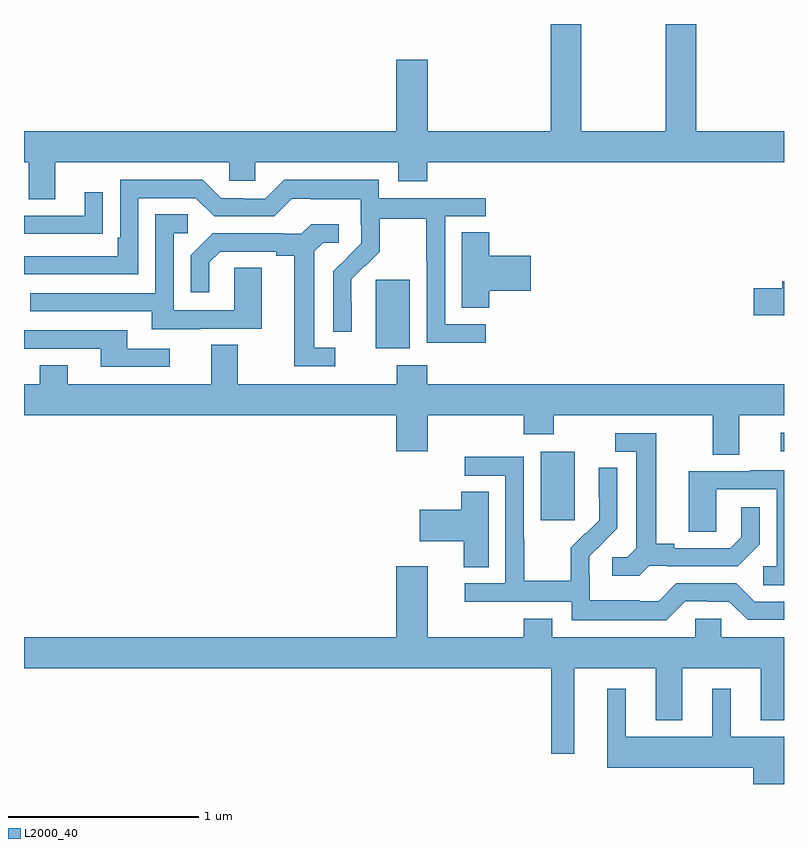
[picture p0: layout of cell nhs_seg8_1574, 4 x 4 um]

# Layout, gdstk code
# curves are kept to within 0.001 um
import gdstk
lib = gdstk.Library(unit=1e-6, precision=1e-09)
def R(c, l, rs):  # rectangles x0, y0, x1, y1
    for r in rs: c.add(gdstk.rectangle(r[:2], r[2:], *l))
def P(c, l, *ps):  # polygons
    for p in ps: c.add(gdstk.Polygon(p, *l))
L2000_40 = (2000, 40)

nhs_seg8_1574 = lib.new_cell('nhs_seg8_1574')
R(nhs_seg8_1574, L2000_40, [(213.719,1109.289,213.898,1109.65), (214.983,1109.652,215,1109.748), (212.852,1110.194,213.031,1110.555)])
P(nhs_seg8_1574, L2000_40, [(211.165,1111.172),(212.079,1111.172),(212.079,1111.074),(212.217,1111.074),(212.217,1111.172),(212.969,1111.172),(212.969,1111.073),(213.122,1111.073),(213.122,1111.172),(215,1111.172),(215,1111.336),(214.538,1111.336),(214.538,1111.9),(214.378,1111.9),(214.378,1111.336),(213.933,1111.336),(213.933,1111.9),(213.773,1111.9),(213.773,1111.336),(213.124,1111.336),(213.124,1111.711),(212.96,1111.711),(212.96,1111.336),(211,1111.336),(211,1111.172),(211.025,1111.172),(211.025,1110.978),(211.165,1110.978)],
  [(213.43,1110.321),(213.216,1110.321),(213.216,1110.888),(213.43,1110.888),(213.43,1110.984),(212.868,1110.984),(212.868,1111.081),(212.371,1111.081),(212.271,1110.981),(212.156,1110.981),(212.156,1110.984),(212.037,1110.984),(211.941,1111.08),(211.506,1111.08),(211.506,1110.775),(211.493,1110.775),(211.493,1110.678),(211,1110.678),(211,1110.582),(211.602,1110.582),(211.602,1110.984),(211.905,1110.984),(212.001,1110.888),(212.316,1110.888),(212.409,1110.981),(212.509,1110.981),(212.509,1110.977),(212.772,1110.977),(212.772,1110.843),(212.774,1110.843),(212.774,1110.746),(212.628,1110.598),(212.628,1110.28),(212.724,1110.28),(212.723,1110.557),(212.793,1110.627),(212.796,1110.624),(212.873,1110.701),(212.873,1110.876),(213.118,1110.876),(213.118,1110.652),(213.12,1110.652),(213.12,1110.223),(213.43,1110.223)],
  [(211.313,1110.796),(211.415,1110.796),(211.415,1111.015),(211.319,1111.015),(211.319,1110.891),(211,1110.891),(211,1110.795),(211.313,1110.795)],
  [(211.927,1110.297),(212.251,1110.297),(212.251,1110.617),(212.106,1110.617),(212.106,1110.393),(211.788,1110.393),(211.788,1110.798),(211.861,1110.798),(211.861,1110.899),(211.692,1110.899),(211.692,1110.483),(211.033,1110.483),(211.033,1110.387),(211.673,1110.387),(211.673,1110.293),(211.927,1110.293)],
  [(212.638,1110.195),(212.527,1110.195),(212.527,1110.703),(212.574,1110.75),(212.656,1110.75),(212.656,1110.847),(212.512,1110.847),(212.46,1110.795),(212.366,1110.795),(212.366,1110.798),(211.994,1110.798),(211.878,1110.682),(211.878,1110.489),(211.975,1110.489),(211.975,1110.645),(212.032,1110.702),(212.327,1110.702),(212.327,1110.68),(212.423,1110.68),(212.423,1110.099),(212.638,1110.099)],
  [(213.449,1110.497),(213.667,1110.497),(213.667,1110.68),(213.449,1110.68),(213.449,1110.803),(213.305,1110.803),(213.305,1110.406),(213.449,1110.406)],
  [(215,1110.545),(214.991,1110.545),(214.991,1110.509),(214.842,1110.509),(214.842,1110.367),(215,1110.367)],
  [(211.768,1110.192),(211.543,1110.192),(211.543,1110.288),(211,1110.288),(211,1110.192),(211.403,1110.192),(211.403,1110.096),(211.768,1110.096)],
  [(214.765,1109.84),(215,1109.84),(215,1110.004),(213.122,1110.004),(213.122,1110.103),(212.962,1110.103),(212.962,1110.004),(212.125,1110.004),(212.125,1110.212),(211.985,1110.212),(211.985,1110.004),(211.231,1110.004),(211.231,1110.103),(211.084,1110.103),(211.084,1110.004),(211,1110.004),(211,1109.84),(212.96,1109.84),(212.96,1109.652),(213.124,1109.652),(213.124,1109.84),(213.629,1109.84),(213.629,1109.741),(213.789,1109.741),(213.789,1109.84),(214.625,1109.84),(214.625,1109.632),(214.765,1109.632)],
  [(214.29,1109.049),(214.384,1109.049),(214.384,1109.046),(214.756,1109.046),(214.872,1109.162),(214.872,1109.356),(214.775,1109.356),(214.775,1109.199),(214.718,1109.142),(214.423,1109.142),(214.423,1109.165),(214.327,1109.165),(214.327,1109.745),(214.113,1109.745),(214.113,1109.649),(214.223,1109.649),(214.223,1109.141),(214.176,1109.094),(214.095,1109.094),(214.095,1108.997),(214.238,1108.997)],
  [(214.479,1108.863),(214.595,1108.863),(214.595,1108.86),(214.713,1108.86),(214.809,1108.764),(215,1108.764),(215,1108.86),(214.845,1108.86),(214.749,1108.956),(214.434,1108.956),(214.341,1108.863),(214.241,1108.863),(214.241,1108.867),(213.978,1108.867),(213.978,1109.001),(213.976,1109.001),(213.976,1109.098),(214.122,1109.246),(214.122,1109.564),(214.026,1109.564),(214.026,1109.41),(214.028,1109.41),(214.028,1109.288),(213.957,1109.217),(213.954,1109.22),(213.877,1109.143),(213.877,1108.969),(213.633,1108.969),(213.633,1109.192),(213.63,1109.192),(213.63,1109.622),(213.321,1109.622),(213.321,1109.523),(213.534,1109.523),(213.534,1108.956),(213.321,1108.956),(213.321,1108.86),(213.882,1108.86),(213.882,1108.763),(214.379,1108.763)],
  [(215,1109.551),(214.823,1109.551),(214.823,1109.547),(214.499,1109.547),(214.499,1109.227),(214.644,1109.227),(214.644,1109.451),(214.962,1109.451),(214.962,1109.046),(214.89,1109.046),(214.89,1108.945),(215,1108.945)],
  [(213.445,1109.438),(213.302,1109.438),(213.302,1109.343),(213.084,1109.343),(213.084,1109.177),(213.314,1109.177),(213.314,1109.041),(213.445,1109.041)],
  [(213.895,1108.508),(214.325,1108.508),(214.325,1108.235),(214.465,1108.235),(214.465,1108.508),(214.877,1108.508),(214.877,1108.235),(215,1108.235),(215,1108.672),(214.671,1108.672),(214.671,1108.77),(214.533,1108.77),(214.533,1108.672),(213.781,1108.672),(213.781,1108.771),(213.629,1108.771),(213.629,1108.672),(213.124,1108.672),(213.124,1109.047),(212.96,1109.047),(212.96,1108.672),(211,1108.672),(211,1108.508),(213.774,1108.508),(213.774,1108.059),(213.895,1108.059)],
  [(215,1108.15),(214.72,1108.15),(214.72,1108.402),(214.622,1108.402),(214.622,1108.15),(214.168,1108.15),(214.168,1108.402),(214.07,1108.402),(214.07,1107.986),(214.838,1107.986),(214.838,1107.9),(215,1107.9)])

lib.write_gds('nhs_seg8_1574.gds')
